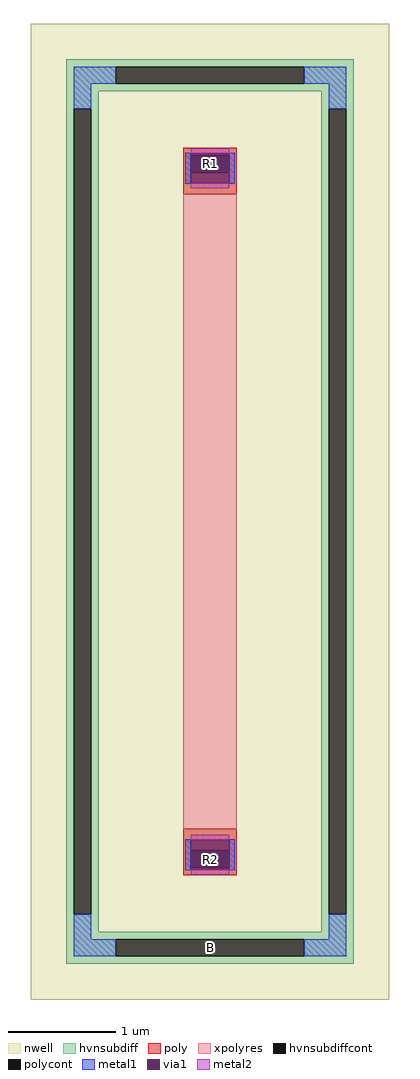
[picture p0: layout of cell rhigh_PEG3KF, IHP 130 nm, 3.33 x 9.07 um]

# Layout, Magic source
magic
tech ihp-sg13cmos5l
magscale 1 2
<< nwell >>
rect -333 -907 333 907
<< hvnsubdiff >>
rect -267 827 267 841
rect -267 795 -175 827
rect 175 795 267 827
rect -267 781 267 795
rect -267 749 -207 781
rect -267 -749 -253 749
rect -221 -749 -207 749
rect 207 749 267 781
rect -267 -781 -207 -749
rect 207 -749 221 749
rect 253 -749 267 749
rect 207 -781 267 -749
rect -267 -795 267 -781
rect -267 -827 -175 -795
rect 175 -827 267 -795
rect -267 -841 267 -827
<< hvnsubdiffcont >>
rect -175 795 175 827
rect -253 -749 -221 749
rect 221 -749 253 749
rect -175 -827 175 -795
<< poly >>
rect -50 662 50 676
rect -50 630 -36 662
rect 36 630 50 662
rect -50 590 50 630
rect -50 -630 50 -590
rect -50 -662 -36 -630
rect 36 -662 50 -630
rect -50 -676 50 -662
<< polycont >>
rect -36 630 36 662
rect -36 -662 36 -630
<< xpolyres >>
rect -50 -590 50 590
<< metal1 >>
rect -253 795 -175 827
rect 175 795 253 827
rect -253 749 -221 795
rect 221 749 253 795
rect -46 666 46 667
rect -46 610 -36 666
rect 36 610 46 666
rect -46 609 46 610
rect -46 -610 46 -609
rect -46 -666 -36 -610
rect 36 -666 46 -610
rect -46 -667 46 -666
rect -253 -795 -221 -749
rect 221 -795 253 -749
rect -253 -827 -175 -795
rect 175 -827 253 -795
<< via1 >>
rect -36 662 36 666
rect -36 630 36 662
rect -36 610 36 630
rect -36 -630 36 -610
rect -36 -662 36 -630
rect -36 -666 36 -662
<< metal2 >>
rect -36 666 36 675
rect -36 601 36 610
rect -36 -610 36 -601
rect -36 -675 36 -666
<< labels >>
rlabel hvnsubdiffcont 0 -811 0 -811 0 B
port 1 nsew
rlabel polycont 0 646 0 646 0 R1
port 2 nsew
rlabel polycont 0 -646 0 -646 0 R2
port 3 nsew
<< properties >>
string FIXED_BBOX -237 -811 237 811
string gencell rhigh
string library sg13cmos5l
string MASKHINTS_CONTBAR -50 -676 50 676
string parameters w 0.5 l 5.9 m 1 nx 1 wmin 0.50 lmin 0.50 class resistor rho 1360 val 16.048k dummy 0 dw 0.0 term 0.0 sterm 0.0 caplen 0 bar 1 guard 1 glc 1 grc 1 gtc 1 gbc 1 snake 0 full_metal 1 n_guard 1 hv_guard 1 vias 1 viagb 0 viagt 0 viagl 0 viagr 0 doports 1
<< end >>
